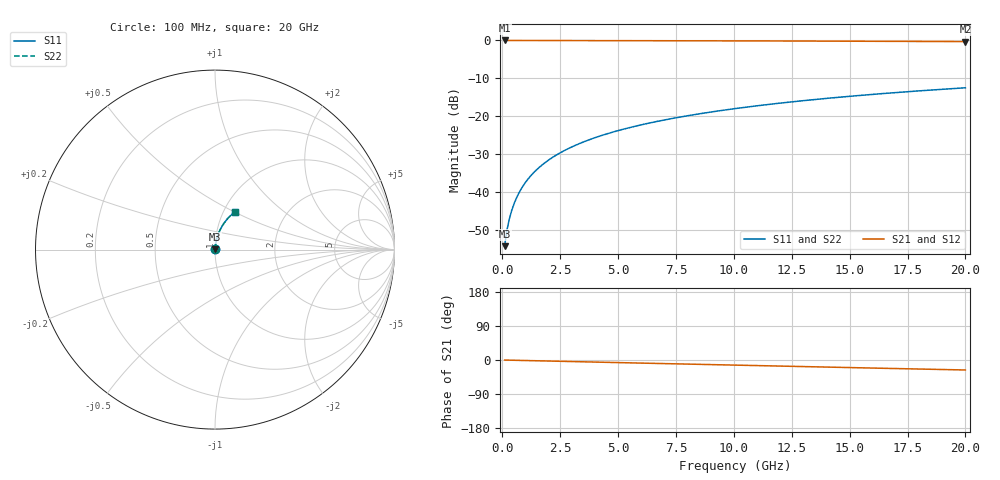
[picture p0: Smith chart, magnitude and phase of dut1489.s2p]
! Touchstone file exported from HFSS 2026.1.0
!  File:  C:/ffzhzh/LocalFiles/Ansys_Project_Files/temp_train_BSMRDL_1489_1783181483_43440.aedt
!  Generated:  12:12:41 AM Jul  5, 2026
!  Design:  BSMRDL
!  Project:  temp_train_BSMRDL_1489_1783181483_43440
! Variables:
!  h_bsmrdl = 4.87um
!  h_ox = 20um
!  h_rdl = 5um
!  h_sub = 80um
!  h_tmrdl = 5um
!  h_tsv = 80um
!  h_via = 3um
!  l_bsmrdl = 370.08um
!  l_sub = 770.08um
!  l_tmrdl = 200um
!  m_sub = 200um
!  pitch = 49.18um
!  r_tsv = 6um
!  s_tmrdl = 10um
!  w_bsmrdl = 23.96um
!  w_sub = 500um
!  w_tmrdl = 12um
!  x_tsv_center1 = 206um
!  x_tsv_center2 = 600.04um
!  x_tsv_center3 = 812.04um
!  x_tsv_center4 = 1206.08um
!  x_tsv_center5 = 1418.08um
!  x_tsv_center6 = 1812.12um
# GHz S MA R 50.000000
! Terminal data exported
! Port[1] = BSM_RDL1_1_T1
! Port[2] = BSM_RDL1_1_T2
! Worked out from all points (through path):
!   200 points, 100 MHz to 20 GHz, reference 50 ohm
!   highest |S21| = -0.01 dB at 100 MHz (marker M1); lowest = -0.3 dB at 20 GHz (marker M2)
!   group delay of S21, straight-line fit = 3.66 ps
!   lowest |S11| = -54.2 dB at 100 MHz (marker M3), VSWR 1.00, Z = 50.1 + j0.145 ohm
!   |S11| at or under -10 dB: start of sweep to end of sweep
!   |S22| runs from -54.2 to -12.5 dB; largest |S21 - S12| = 2.7e-15
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0.1  0.001952 48.0  0.9987 -0.1  0.9987 -0.1  0.001952 48.0
! Gamma 0 0 0 0
! Port Impedance 50 0 50 0
0.2  0.003155 63.5  0.9986 -0.3  0.9986 -0.3  0.003155 63.5
0.3  0.004408 70.1  0.9985 -0.4  0.9985 -0.4  0.004408 70.1
0.4  0.005678 74.0  0.9985 -0.6  0.9985 -0.6  0.005678 74.0
0.5  0.006961 76.4  0.9984 -0.7  0.9984 -0.7  0.006961 76.4
0.6  0.008254 78.1  0.9984 -0.8  0.9984 -0.8  0.008254 78.1
0.8  0.01086 80.3  0.9983 -1.1  0.9983 -1.1  0.01086 80.3
1.1  0.01479 81.8  0.9982 -1.5  0.9982 -1.5  0.01479 81.8
1.5  0.02004 82.7  0.998 -2.1  0.998 -2.1  0.02004 82.7
1.8  0.02397 82.9  0.9978 -2.5  0.9978 -2.5  0.02397 82.9
2.1  0.02789 82.9  0.9976 -2.9  0.9976 -2.9  0.02789 82.9
2.7  0.03567 82.6  0.997 -3.7  0.997 -3.7  0.03567 82.6
3.5  0.04594 81.8  0.9963 -4.8  0.9963 -4.8  0.04594 81.8
4.2  0.05483 81.1  0.9955 -5.8  0.9955 -5.8  0.05483 81.1
5  0.06489 80.2  0.9945 -6.8  0.9945 -6.8  0.06489 80.2
5.9  0.07609 79.2  0.9934 -8.0  0.9934 -8.0  0.07609 79.2
6.8  0.08718 78.1  0.9921 -9.2  0.9921 -9.2  0.08718 78.1
8.3  0.1055 76.3  0.9899 -11.2  0.9899 -11.2  0.1055 76.3
10.1  0.127 74.1  0.9869 -13.6  0.9869 -13.6  0.127 74.1
13.4  0.1655 70.1  0.9805 -17.9  0.9805 -17.9  0.1655 70.1
16.7  0.2025 66.0  0.9729 -22.2  0.9729 -22.2  0.2025 66.0
20  0.2376 62.0  0.9645 -26.4  0.9645 -26.4  0.2376 62.0
